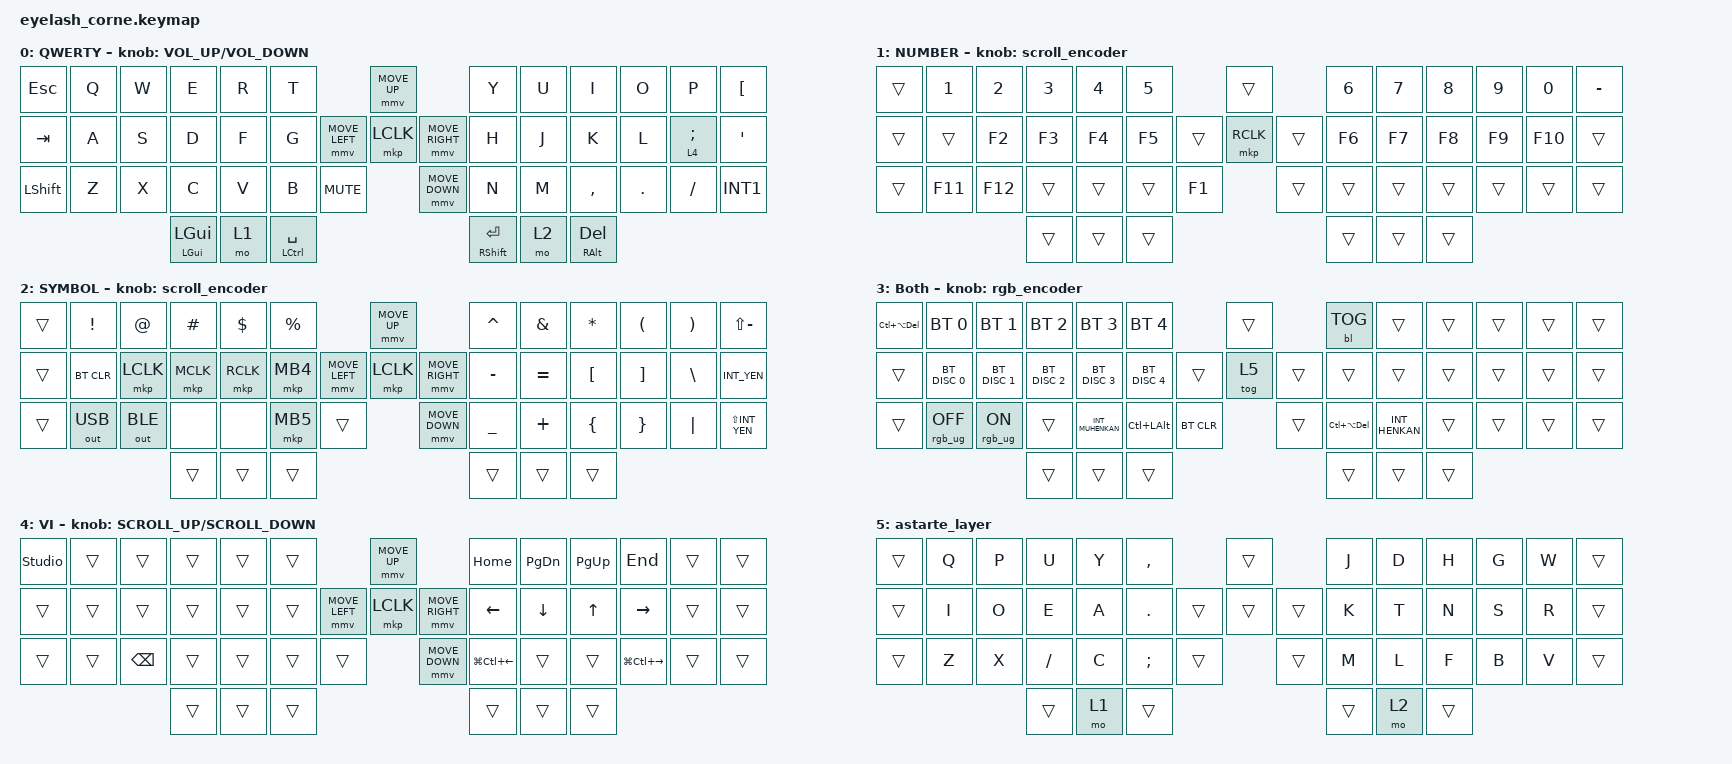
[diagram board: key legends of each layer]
#include <dt-bindings/zmk/mouse.h>
#include <input/processors.dtsi>
#include <behaviors.dtsi>
#include <dt-bindings/zmk/backlight.h>
#include <dt-bindings/zmk/bt.h>
#include <dt-bindings/zmk/keys.h>
#include <dt-bindings/zmk/outputs.h>
#include <dt-bindings/zmk/pointing.h>
#include <dt-bindings/zmk/rgb.h>

/*

   &mmv_input_listener {
       input-processors = <&zip_xy_scaler 2 1>;
   };

   &msc_input_listener {
       input-processors = <&zip_xy_scaler 2 1>;
   };

 */

#define ZMK_MOUSE_DEFAULT_MOVE_VAL 1200  // 600
#define ZMK_MOUSE_DEFAULT_SCRL_VAL 20    // 10

/ {
    behaviors {
        td0: td0 {
            compatible = "zmk,behavior-tap-dance";
            display-name = "Shift/Caps Lock Tap Dance";
            #binding-cells = <0>;
            bindings = <&kp LEFT_SHIFT>, <&kp CAPS>;
        };
    };

    rgb_encoder: rgb_encoder {
        compatible = "zmk,behavior-sensor-rotate";
        #sensor-binding-cells = <0>;
        bindings = <&rgb_ug RGB_BRI>, <&rgb_ug RGB_BRD>;
    };

    scroll_encoder: scroll_encoder {
        compatible = "zmk,behavior-sensor-rotate";
        #sensor-binding-cells = <0>;
        bindings = <&msc SCRL_DOWN>, <&msc SCRL_UP>;

        tap-ms = <30>;
    };

    keymap {
        compatible = "zmk,keymap";

        default_layer {
            display-name = "QWERTY";
            bindings = <
&kp ESCAPE  &kp Q  &kp W  &kp E              &kp R  &kp T                                                 &mmv MOVE_UP                     &kp Y                  &kp U  &kp I         &kp O    &kp P       &kp LBKT
&kp TAB     &kp A  &kp S  &kp D              &kp F  &kp G                                 &mmv MOVE_LEFT  &mkp LCLK       &mmv MOVE_RIGHT  &kp H                  &kp J  &kp K         &kp L    &lt 4 SEMI  &kp SQT
&kp LSHIFT  &kp Z  &kp X  &kp C              &kp V  &kp B                   &kp C_MUTE                    &mmv MOVE_DOWN                   &kp N                  &kp M  &kp COMMA     &kp DOT  &kp FSLH    &kp INT1
                          &mt LGUI LEFT_GUI  &mo 1  &mt LEFT_CONTROL SPACE                                                                 &mt RIGHT_SHIFT ENTER  &mo 2  &mt RALT DEL
            >;

            sensor-bindings = <&inc_dec_kp C_VOLUME_UP C_VOLUME_DOWN>;
        };

        lower_layer {
            display-name = "NUMBER";
            bindings = <
&trans  &kp N1   &kp N2   &kp N3  &kp N4  &kp N5                    &trans             &kp N6  &kp N7  &kp N8  &kp N9  &kp N0   &kp MINUS
&trans  &trans   &kp F2   &kp F3  &kp F4  &kp F5            &trans  &mkp RCLK  &trans  &kp F6  &kp F7  &kp F8  &kp F9  &kp F10  &trans
&trans  &kp F11  &kp F12  &trans  &trans  &trans  &kp F1            &trans             &trans  &trans  &trans  &trans  &trans   &trans
                          &trans  &trans  &trans                                       &trans  &trans  &trans
            >;

            sensor-bindings = <&scroll_encoder>;
        };

        raise_layer {
            display-name = "SYMBOL";
            bindings = <
&trans  &kp EXCL      &kp AT        &kp HASH   &kp DLLR   &kp PRCNT                            &mmv MOVE_UP                     &kp CARET  &kp AMPS   &kp ASTRK  &kp LPAR  &kp RPAR  &kp LS(MINUS)
&trans  &bt BT_CLR    &mkp LCLK     &mkp MCLK  &mkp RCLK  &mkp MB4             &mmv MOVE_LEFT  &mkp LCLK       &mmv MOVE_RIGHT  &kp MINUS  &kp EQUAL  &kp LBKT   &kp RBKT  &kp BSLH  &kp INT_YEN
&trans  &out OUT_USB  &out OUT_BLE  &none      &none      &mkp MB5   &trans                    &mmv MOVE_DOWN                   &kp UNDER  &kp PLUS   &kp LBRC   &kp RBRC  &kp PIPE  &kp LS(INT_YEN)
                                    &trans     &trans     &trans                                                                &trans     &trans     &trans
            >;

            sensor-bindings = <&scroll_encoder>;
        };

        both_layer {
            bindings = <
&kp LC(LA(DELETE))  &bt BT_SEL 0     &bt BT_SEL 1    &bt BT_SEL 2   &bt BT_SEL 3      &bt BT_SEL 4                            &trans          &bl BL_TOG          &trans          &trans  &trans  &trans  &trans
&trans              &bt BT_DISC 0    &bt BT_DISC 1   &bt BT_DISC 2  &bt BT_DISC 3     &bt BT_DISC 4                   &trans  &tog 5  &trans  &trans              &trans          &trans  &trans  &trans  &trans
&trans              &rgb_ug RGB_OFF  &rgb_ug RGB_ON  &trans         &kp INT_MUHENKAN  &kp LC(LEFT_ALT)  &bt BT_CLR            &trans          &kp LC(LA(DELETE))  &kp INT_HENKAN  &trans  &trans  &trans  &trans
                                                     &trans         &trans            &trans                                                  &trans              &trans          &trans
            >;

            sensor-bindings = <&rgb_encoder>;
            label = "Both";
        };

        vi_layer {
            display-name = "VI";
            bindings = <
&studio_unlock  &trans  &trans         &trans  &trans  &trans                            &mmv MOVE_UP                     &kp HOME                &kp PAGE_DOWN  &kp PAGE_UP  &kp END                  &trans  &trans
&trans          &trans  &trans         &trans  &trans  &trans            &mmv MOVE_LEFT  &mkp LCLK       &mmv MOVE_RIGHT  &kp LEFT                &kp DOWN       &kp UP       &kp RIGHT                &trans  &trans
&trans          &trans  &kp BACKSPACE  &trans  &trans  &trans  &trans                    &mmv MOVE_DOWN                   &kp LG(LC(LEFT_ARROW))  &trans         &trans       &kp LG(LC(RIGHT_ARROW))  &trans  &trans
                                       &trans  &trans  &trans                                                             &trans                  &trans         &trans
            >;

            sensor-bindings = <&inc_dec_kp K_SCROLL_UP K_SCROLL_DOWN>;
        };

        astarte_layer {
            bindings = <
&trans  &kp Q  &kp P  &kp U     &kp Y  &kp COMMA                    &trans          &kp J   &kp D  &kp H   &kp G  &kp W  &trans
&trans  &kp I  &kp O  &kp E     &kp A  &kp DOT              &trans  &trans  &trans  &kp K   &kp T  &kp N   &kp S  &kp R  &trans
&trans  &kp Z  &kp X  &kp FSLH  &kp C  &kp SEMI   &trans            &trans          &kp M   &kp L  &kp F   &kp B  &kp V  &trans
                      &trans    &mo 1  &trans                                       &trans  &mo 2  &trans
            >;
        };
    };

    conditional_layers {
        compatible = "zmk,conditional-layers";

        Both {
            if-layers = <1 2>;
            then-layer = <3>;
        };
    };
};
